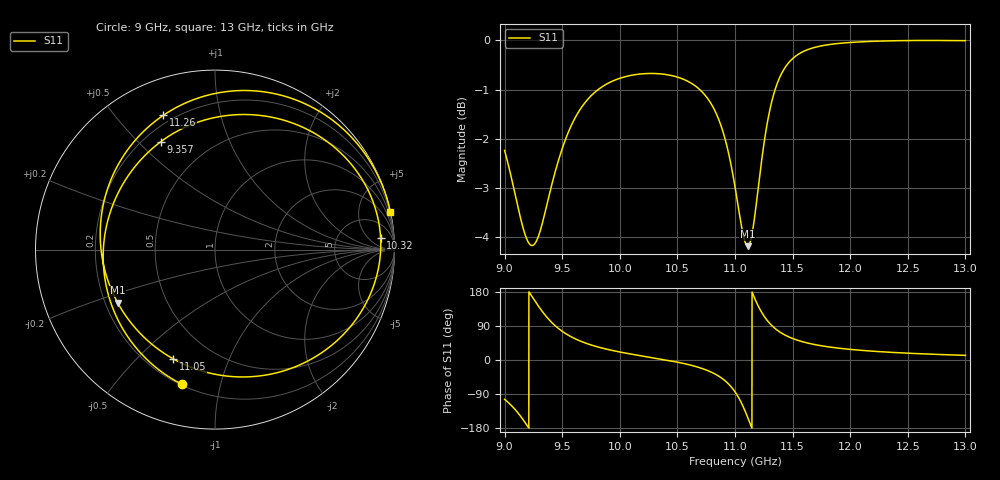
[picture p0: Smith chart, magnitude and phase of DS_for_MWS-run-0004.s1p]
! TOUCHSTONE file generated by CST DESIGN STUDIO
! Date and time: Tue Feb  4 13:35:28 2025
! Project name: C:\Work\MatlabApps\UnitCellOptimizationMatlab\CST\unitcell.cst
! Tree item: Tasks\Sweep1\SPara1\S-Parameters
! Header version: 2024
! Port assignment regex: !\s*Touchstone port\s*([0-9]+)\s*=\s*(CST MWS port|CST DES external port|CST DES block port)\s*(.+)\s* \(\"(.*)\"\)(\s*mode\s*([0-9]+))?.*
! Touchstone port assignment:
! Touchstone port 1 = CST DES external port 1 ("")
# GHz S MA R 50
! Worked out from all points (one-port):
!   4001 points, 9 GHz to 13 GHz, reference 50 ohm
!   lowest |S11| = -4.2 dB at 11.11 GHz (marker M1), VSWR 4.23, Z = 12.5 - j12 ohm
!   |S11| at or under -10 dB: nowhere
!   S11 on the Smith chart (normalised r, x): 9 GHz: 0.20, -0.76; 9.357 GHz: 0.27, +0.59; 10.32 GHz: 14, +13; 11.05 GHz: 0.30, -0.64; 11.26 GHz: 0.16, +0.67; 13 GHz: 0.04, +9.33
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9  0.7729 -103.8
9.091  0.6976 -130.6
9.194  0.6274 -172.3
9.268  0.6228 153.5
9.357  0.6732 116.6
9.423  0.7234 94.9
9.5  0.7761 75.7
9.6  0.829 57.8
9.711  0.8681 43.7
10  0.915 21.1
10.322  0.925 4.1
10.5  0.9175 -5.7
10.683  0.8934 -19.3
10.814  0.8533 -35.0
10.914  0.7937 -54.8
11  0.7098 -83.9
11.052  0.6516 -111.0
11.11  0.6178 -151.4
11.144  0.6322 -177.6
11.178  0.6718 157.7
11.222  0.7404 130.7
11.263  0.8018 111.0
11.351  0.8932 82.4
11.5  0.958 56.8
11.696  0.9838 40.5
12  0.9949 28.0
12.5  0.9994 18.0
13  0.9991 12.2
